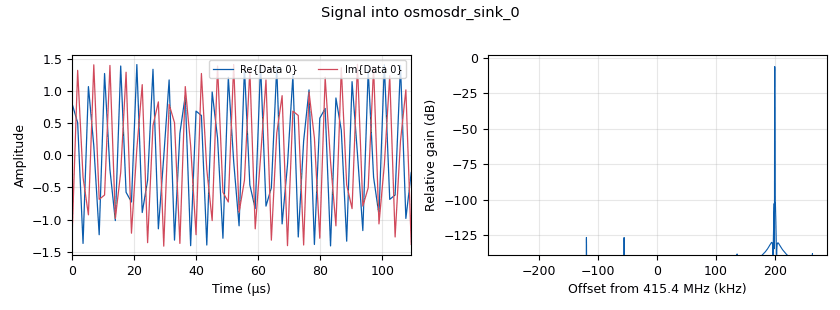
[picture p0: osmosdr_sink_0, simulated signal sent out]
options:
  parameters:
    generate_options: qt_gui
    id: test_0_yt
    output_language: python
    title: Not titled yet
  states: {}

blocks:
- name: RX_rf_gain
  id: variable_qtgui_range
  parameters:
    start: '0'
    step: '1'
    stop: '50'
    value: '0'
  states: {}
- name: TX_rf_gain
  id: variable_qtgui_range
  parameters:
    start: '0'
    step: '1'
    stop: '50'
    value: '30'
  states: {}
- name: freq_slide
  id: variable_qtgui_range
  parameters:
    start: '0'
    step: 1e3
    stop: 1e6
    value: '0'
  states: {}
- name: samp_rate
  id: variable
  parameters:
    value: '576000'
  states: {}
- name: analog_random_source_x_0
  id: analog_random_source_x
  parameters:
    max: '2'
    min: '0'
    num_samps: '1000'
    repeat: 'True'
    type: byte
  states: {}
- name: analog_sig_source_x_0
  id: analog_sig_source_x
  parameters:
    amp: '1'
    freq: '2000'
    offset: '0'
    phase: '0'
    samp_rate: '96000'
    type: complex
    waveform: analog.GR_COS_WAVE
  states: {state: disabled}
- name: analog_sig_source_x_0_0
  id: analog_sig_source_x
  parameters:
    amp: '1'
    freq: '200000'
    offset: '0'
    phase: '0'
    samp_rate: samp_rate
    type: complex
    waveform: analog.GR_COS_WAVE
  states: {}
- name: blocks_add_xx_0
  id: blocks_add_xx
  parameters:
    type: complex
  states: {state: disabled}
- name: blocks_char_to_float_0
  id: blocks_char_to_float
  parameters:
    scale: '1'
  states: {}
- name: blocks_float_to_complex_0
  id: blocks_float_to_complex
  parameters: {}
  states: {}
- name: blocks_multiply_xx_0_1
  id: blocks_multiply_xx
  parameters:
    comment: UP-Conversion -> 1MHz
    type: complex
  states: {}
- name: blocks_pack_k_bits_bb_0
  id: blocks_pack_k_bits_bb
  parameters:
    k: '5000'
  states: {}
- name: low_pass_filter_0
  id: low_pass_filter
  parameters:
    cutoff_freq: '40000'
    decim: '1'
    gain: '1'
    samp_rate: samp_rate
    type: fir_filter_ccf
    width: '5000'
    win: window.WIN_HAMMING
  states: {state: disabled}
- name: osmosdr_sink_0
  id: osmosdr_sink
  parameters:
    ant0: TX1
    args: '"bladerf=0,nchan=1,verbosity=verbose"'
    bb_gain0: '20'
    freq0: 415.4e6+freq_slide
    gain0: TX_rf_gain
    if_gain0: '20'
    sample_rate: samp_rate
    sync: sync
    type: fc32
  states: {}
- name: osmosdr_source_1
  id: osmosdr_source
  parameters:
    args: '"bladerf=0,nchan=1,buffers=48,transfers=24,agc_mode=manual"'
    bb_gain0: '20'
    freq0: 415.4e6
    gain0: RX_rf_gain
    gain_mode0: 'False'
    if_gain0: '20'
    sample_rate: samp_rate
    sync: sync
    type: fc32
  states: {}
- name: qtgui_sink_x_0
  id: qtgui_sink_x
  parameters:
    bw: samp_rate
    fc: '0'
    fftsize: '1024'
    type: complex
  states: {}
- name: rational_resampler_xxx_0
  id: rational_resampler_xxx
  parameters:
    decim: '1'
    interp: '6'
    type: ccc
  states: {state: disabled}

connections:
- [analog_random_source_x_0, '0', blocks_pack_k_bits_bb_0, '0']
- [analog_sig_source_x_0, '0', rational_resampler_xxx_0, '0']
- [analog_sig_source_x_0_0, '0', blocks_multiply_xx_0_1, '1']
- [blocks_char_to_float_0, '0', blocks_float_to_complex_0, '0']
- [blocks_char_to_float_0, '0', blocks_float_to_complex_0, '1']
- [blocks_float_to_complex_0, '0', blocks_multiply_xx_0_1, '0']
- [blocks_multiply_xx_0_1, '0', osmosdr_sink_0, '0']
- [blocks_pack_k_bits_bb_0, '0', blocks_char_to_float_0, '0']
- [low_pass_filter_0, '0', blocks_multiply_xx_0_1, '0']
- [osmosdr_source_1, '0', qtgui_sink_x_0, '0']
- [rational_resampler_xxx_0, '0', low_pass_filter_0, '0']

metadata:
  file_format: 1
  grc_version: 3.10.5.1
